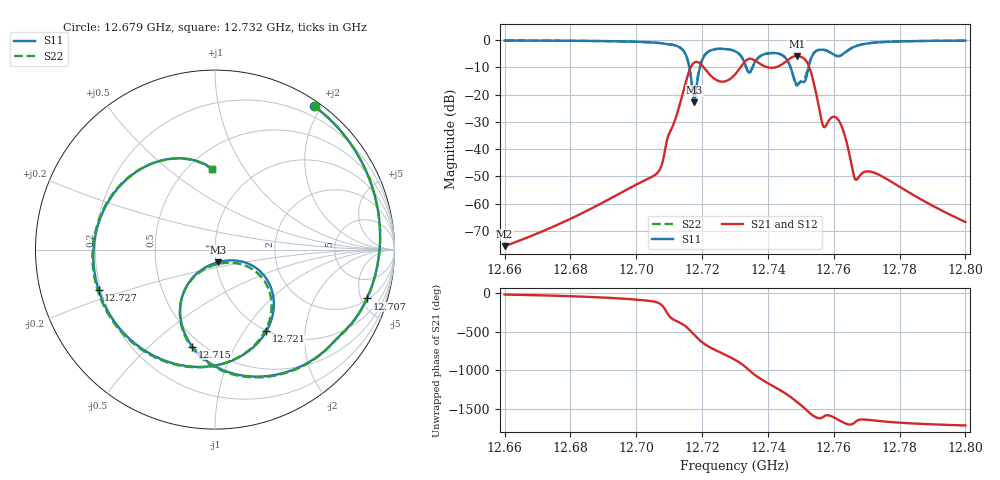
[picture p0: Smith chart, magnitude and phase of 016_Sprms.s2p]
! TOUCHSTONE file generated by CST MICROWAVE STUDIO
! Date and time: Wed Jul 31 11:24:39 2024
! Project name: WaveGuide_BPF-Ver4.1_U-shape_Ku_T3_C4_CWA_2.cst
! Parameters = {cavity_h=16; cavity_l0=10; cavity_l1=15.1925; cavity_l2=16.8152; cavity_l3=17.0647; cavity_l4=17.2644; cavity_l5=17.0953; cavity_l6=17.6112; cavity_r=2.5; cavity_screw_l=0.5; cavity_screw_r=1.5; cavity_w=8; iris_h00=0; iris_h01=8.8133; iris_h112=0; iris_h12=5.586; iris_h211=3.6635; i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
! Header version: 2018
! Port assignment regex: !\s*Touchstone port\s*([0-9]+)\s*=\s*(CST MWS port|CST DS port)\s*([0-9]+|Zmin|Zmax)\s*\(\"(.*)\"\)(\s*mode\s*([0-9]+))?.*
! Touchstone port assignment:
! Touchstone port 1 = CST MWS port 1 ("")
! Touchstone port 2 = CST MWS port 2 ("")
# GHz S RI R 50
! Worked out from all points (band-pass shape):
!   5001 points, 12.66 GHz to 12.8 GHz, reference 50 ohm
!   highest |S21| = -5.87 dB at 12.749 GHz (marker M1); lowest = -75.6 dB at 12.66 GHz (marker M2)
!   |S21| within 3 dB of the highest: 12.73237 GHz to 12.73775 GHz (5.38 MHz wide, 0.0422 % of centre); 12.74432 GHz to 12.75219 GHz (7.87 MHz wide, 0.0617 % of centre)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
!   lowest |S11| = -22.8 dB at 12.718 GHz (marker M3), VSWR 1.16, Z = 51.4 - j7.21 ohm
!   |S11| at or under -10 dB: 12.71613 GHz to 12.71935 GHz (3.225 MHz wide, 0.0254 % of centre); 12.73342 GHz to 12.73527 GHz (1.844 MHz wide, 0.0145 % of centre); 12.7469 GHz to 12.75236 GHz (5.465 MHz wide, 0.0429 % of centre)
!   |S22| runs from -21.7 to -0.1 dB; largest |S21 - S12| = 1e-09
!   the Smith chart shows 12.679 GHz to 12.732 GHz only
!   S11 on the Smith chart (normalised r, x): 12.679 GHz: 0.07, +1.91; 12.707 GHz: 2.15, -5.57; 12.715 GHz: 0.44, -0.69; 12.721 GHz: 0.99, -1.27; 12.727 GHz: 0.19, -0.16; 12.732 GHz: 0.65, +0.73
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12.66  0.2598 0.9484  0.000157 -5.37e-05  0.000157 -5.37e-05  0.2588 0.9486
12.67929  0.5542 0.7986  0.000388 -0.000319  0.000388 -0.000319  0.5556 0.7974
12.68335  0.63 0.7348  0.000462 -0.00047  0.000462 -0.00047  0.632 0.7328
12.70651  0.8464 -0.272  -0.00206 -0.00309  -0.00206 -0.00309  0.8422 -0.2836
12.70668  0.8399 -0.2856  -0.00227 -0.00306  -0.00227 -0.00306  0.8356 -0.2972
12.71494  -0.1269 -0.54  0.0598 -0.1503  0.0598 -0.1503  -0.1327 -0.5401
12.71762  0.0191 -0.0698  -0.3857 0.00791  -0.3857 0.00791  0.029 -0.0777
12.72093  0.2863 -0.4548  0.1682 0.2401  0.1682 0.2401  0.2647 -0.4773
12.72672  -0.6483 -0.2257  0.0502 -0.1663  0.0502 -0.1663  -0.6562 -0.2184
12.73  -0.4752 0.4058  -0.1906 -0.1362  -0.1906 -0.1362  -0.4783 0.406
12.73238  -0.0149 0.45  -0.3111 0.1833  -0.3111 0.1833  -0.0174 0.4481
12.73613  0.059 0.4003  0.4002 0.1187  0.4002 0.1187  0.0492 0.3974
12.74016  0.5709 -0.0443  -0.012 -0.3134  -0.012 -0.3134  0.5668 -0.0484
12.74487  -0.1062 -0.4912  -0.3357 0.1774  -0.3357 0.1774  -0.1188 -0.4872
12.74879  -0.0937 -0.1241  0.4393 0.2567  0.4393 0.2567  -0.0832 -0.1208
12.75335  -0.0924 -0.4844  -0.1648 -0.1504  -0.1648 -0.1504  -0.1218 -0.4962
12.75696  -0.6585 -0.0306  -0.024 -0.00866  -0.024 -0.00866  -0.6662 -0.0264
12.76021  -0.0601 0.5273  -0.039 -0.00337  -0.039 -0.00337  -0.0715 0.5281
12.76318  0.5704 -0.0758  -0.0087 0.0172  -0.0087 0.0172  0.5654 -0.0743
12.76696  0.122 -0.7728  -0.00222 0.00165  -0.00222 0.00165  0.1105 -0.7741
12.77668  -0.7566 -0.5409  -0.00175 0.00205  -0.00175 0.00205  -0.7628 -0.5335
12.8  -0.9629 0.1629  4.67e-05 0.000459  4.67e-05 0.000459  -0.9629 0.1649
